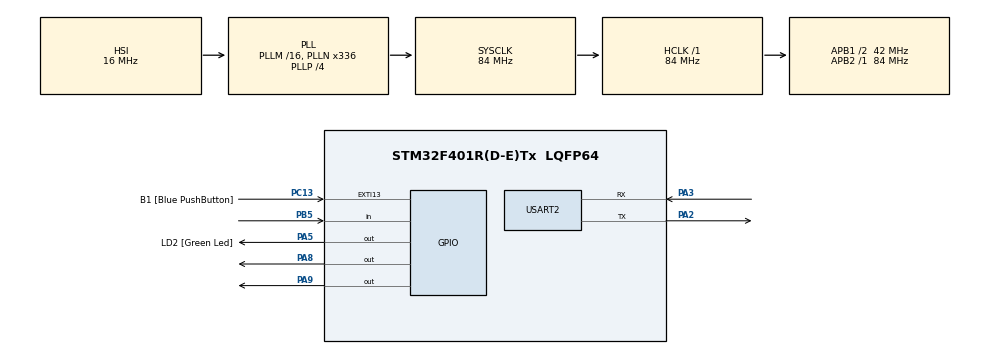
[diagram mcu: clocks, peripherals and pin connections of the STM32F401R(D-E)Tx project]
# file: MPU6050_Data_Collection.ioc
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Mcu.Family=STM32F4
Mcu.Name=STM32F401R(D-E)Tx
Mcu.Package=LQFP64
NVIC.PriorityGroup=NVIC_PRIORITYGROUP_0
PA13.GPIO_Label=TMS
PA13.Mode=Serial_Wire
PA13.Signal=SYS_JTMS-SWDIO
PA14.GPIO_Label=TCK
PA14.Mode=Serial_Wire
PA14.Signal=SYS_JTCK-SWCLK
PA2.Mode=Asynchronous
PA2.Signal=USART2_TX
PA3.Mode=Asynchronous
PA3.Signal=USART2_RX
PA5.GPIO_Label=LD2 [Green Led]
PA5.GPIO_Mode=GPIO_MODE_OUTPUT_PP
PA5.GPIO_PuPd=GPIO_NOPULL
PA5.GPIO_Speed=GPIO_SPEED_FREQ_LOW
PA5.Signal=GPIO_Output
PA8.GPIO_ModeDefaultOutputPP=GPIO_MODE_OUTPUT_OD
PA8.GPIO_PuPd=GPIO_NOPULL
PA8.PinState=GPIO_PIN_RESET
PA8.Signal=GPIO_Output
PA9.GPIO_PuPd=GPIO_NOPULL
PA9.PinState=GPIO_PIN_RESET
PA9.Signal=GPIO_Output
PB3.GPIO_Label=SWO
PB3.Signal=SYS_JTDO-SWO
PB5.GPIO_PuPd=GPIO_NOPULL
PB5.Signal=GPIO_Input
PC13-ANTI_TAMP.GPIO_Label=B1 [Blue PushButton]
PC13-ANTI_TAMP.GPIO_ModeDefaultEXTI=GPIO_MODE_IT_FALLING
PC13-ANTI_TAMP.GPIO_PuPd=GPIO_NOPULL
PC13-ANTI_TAMP.Signal=GPXTI13
PC14-OSC32_IN.Mode=LSE-External-Oscillator
PC14-OSC32_IN.Signal=RCC_OSC32_IN
PC15-OSC32_OUT.Mode=LSE-External-Oscillator
PC15-OSC32_OUT.Signal=RCC_OSC32_OUT
PH0\ -\ OSC_IN.Mode=HSE-External-Clock-Source
PH0\ -\ OSC_IN.Signal=RCC_OSC_IN
PH1\ -\ OSC_OUT.Mode=HSE-External-Clock-Source
PH1\ -\ OSC_OUT.Signal=RCC_OSC_OUT
ProjectManager.HeapSize=0x200
ProjectManager.StackSize=0x400
ProjectManager.TargetToolchain=STM32CubeIDE
RCC.48MHZClocksFreq_Value=48000000
RCC.AHBFreq_Value=84000000
RCC.APB1CLKDivider=RCC_HCLK_DIV2
RCC.APB1Freq_Value=42000000
RCC.APB1TimFreq_Value=84000000
RCC.APB2Freq_Value=84000000
RCC.APB2TimFreq_Value=84000000
RCC.CortexFreq_Value=84000000
RCC.HCLKFreq_Value=84000000
RCC.HSE_VALUE=8000000
RCC.HSI_VALUE=16000000
RCC.PLLN=336
RCC.PLLP=RCC_PLLP_DIV4
RCC.PLLQ=7
RCC.SYSCLKFreq_VALUE=84000000
RCC.SYSCLKSource=RCC_SYSCLKSOURCE_PLLCLK
RCC.VCOOutputFreq_Value=336000000
USART2.VirtualMode=VM_ASYNC
board=NUCLEO-F401RE

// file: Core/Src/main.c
/* USER CODE BEGIN Header */
/**
  ******************************************************************************
  * @file           : main.c
  * @brief          : Main program body
  ******************************************************************************
  * @attention
  *
  * Copyright (c) 2024 STMicroelectronics.
  * All rights reserved.
  *
  * This software is licensed under terms that can be found in the LICENSE file
  * in the root directory of this software component.
  * If no LICENSE file comes with this software, it is provided AS-IS.
  *
  ******************************************************************************
  */
/* USER CODE END Header */
#include "main.h"

UART_HandleTypeDef huart2;

void SystemClock_Config(void);
static void MX_GPIO_Init(void);
static void MX_USART2_UART_Init(void);

/* USER CODE BEGIN 0 */
int __io_putchar(int ch)
{
/* Support printf over UART */
(void) HAL_UART_Transmit(&huart2, (uint8_t *) &ch, 1, 0xFFFFU);
 return ch;
}

void writeMPU(GPIO_TypeDef* gpioTypeSDA, int sdaPin, GPIO_TypeDef* gpioTypeSCL,
			  int sclPin, GPIO_TypeDef* gpioTypeRead, int readPin, int deviceAddress, int writeAddress,
			  int message, int delayVal) {

	printf("writing to device\r\n");
//	HAL_Delay(1000);
//	printf("test hal delay\r\n");

	// start condition:
	HAL_GPIO_WritePin(gpioTypeSDA, sdaPin, 1);
	HAL_GPIO_WritePin(gpioTypeSCL, sclPin, 1);
	HAL_Delay(delayVal);

	HAL_GPIO_WritePin(gpioTypeSDA, sdaPin, 0);
	HAL_Delay(delayVal);
	HAL_GPIO_WritePin(gpioTypeSCL, sclPin, 0);
	HAL_Delay(delayVal);

	// send device address
	for (int i=0; i<7; i++){
		HAL_GPIO_WritePin(gpioTypeSDA, sdaPin, !!(deviceAddress & (1 << 6-i)) );
	    HAL_Delay(delayVal);

//	    if (HAL_GPIO_ReadPin(gpioTypeRead, readPin)){
//	    	printf("1\r\n");
//	    }
//	    else{
//	    	printf("0\r\n");
//	    }

	    HAL_GPIO_WritePin(gpioTypeSCL, sclPin, 1);
	    HAL_Delay(delayVal);
	    HAL_GPIO_WritePin(gpioTypeSCL, sclPin, 0);
	    HAL_Delay(delayVal);

	    HAL_GPIO_WritePin(gpioTypeSDA, sdaPin, 0);
	    HAL_Delay(delayVal);
	}

	// write is logic low
	HAL_GPIO_WritePin(gpioTypeSDA, sdaPin, 0);
	HAL_Delay(delayVal);

	HAL_GPIO_WritePin(gpioTypeSCL, sclPin, 1);
	HAL_Delay(delayVal);

//	if (HAL_GPIO_ReadPin(gpioTypeRead, readPin)){
//		    	printf("1\r\n");
//		    }
//		    else{
//		    	printf("0\r\n");
//		    }

	HAL_GPIO_WritePin(gpioTypeSCL, sclPin, 0);
	HAL_Delay(delayVal);

	HAL_GPIO_WritePin(gpioTypeSDA, sdaPin, 0);
	HAL_Delay(delayVal);

	// read acknowledge bit
	HAL_GPIO_WritePin(gpioTypeSDA, sdaPin, 1);  // set SDA line to default high state
	HAL_Delay(delayVal);

	HAL_GPIO_WritePin(gpioTypeSCL, sclPin, 1);
	HAL_Delay(delayVal);

//	if (HAL_GPIO_ReadPin(gpioTypeRead, readPin)){
//		    	printf("1\r\n");
//		    }
//		    else{
//		    	printf("0\r\n");
//		    }

	if (!HAL_GPIO_ReadPin(gpioTypeRead, readPin)){
		printf("device address received\r\n");
	}
	HAL_Delay(delayVal);

	HAL_GPIO_WritePin(gpioTypeSCL, sclPin, 0);
	HAL_Delay(delayVal);

	HAL_GPIO_WritePin(gpioTypeSDA, sdaPin, 0); // reset SDA line to low after the device lets go of the SDA line
	HAL_Delay(delayVal);

	// send internal register address
	for (int i=0; i<8; i++){
		HAL_GPIO_WritePin(gpioTypeSDA, sdaPin, !!(writeAddress & (1 << 7-i)) );
	    HAL_Delay(delayVal);

	    HAL_GPIO_WritePin(gpioTypeSCL, sclPin, 1);
	    HAL_Delay(delayVal);
	    HAL_GPIO_WritePin(gpioTypeSCL, sclPin, 0);
	    HAL_Delay(delayVal);

	    HAL_GPIO_WritePin(gpioTypeSDA, sdaPin, 0);
	    HAL_Delay(delayVal);
	}

	// read acknowledge bit
	HAL_GPIO_WritePin(gpioTypeSDA, sdaPin, 1);  // set SDA line to default high state
	HAL_Delay(delayVal);

	HAL_GPIO_WritePin(gpioTypeSCL, sclPin, 1);
	HAL_Delay(delayVal);

	if (!HAL_GPIO_ReadPin(gpioTypeRead, readPin)){
		printf("register address received\r\n");
	}
	HAL_Delay(delayVal);

	HAL_GPIO_WritePin(gpioTypeSCL, sclPin, 0);
	HAL_Delay(delayVal);

	HAL_GPIO_WritePin(gpioTypeSDA, sdaPin, 0); // reset SDA line to low after the device lets go of the SDA line
	HAL_Delay(delayVal);

	// send data to register, for power register of MPU, 0 means it keeps it always awake
	for (int i=0; i<8; i++){
		HAL_GPIO_WritePin(gpioTypeSDA, sdaPin, !!(message & (1 << 7-i)) );
	    HAL_Delay(delayVal);

	    HAL_GPIO_WritePin(gpioTypeSCL, sclPin, 1);
	    HAL_Delay(delayVal);
	    HAL_GPIO_WritePin(gpioTypeSCL, sclPin, 0);
	    HAL_Delay(delayVal);

	    HAL_GPIO_WritePin(gpioTypeSDA, sdaPin, 0);
	    HAL_Delay(delayVal);
	}

	// read acknowledge bit
	HAL_GPIO_WritePin(gpioTypeSDA, sdaPin, 1);  // set SDA line to default high state
	HAL_Delay(delayVal);

	HAL_GPIO_WritePin(gpioTypeSCL, sclPin, 1);
	HAL_Delay(delayVal);

	if (!HAL_GPIO_ReadPin(gpioTypeRead, readPin)){
		printf("message received\r\n");
	}
	HAL_Delay(delayVal);

	HAL_GPIO_WritePin(gpioTypeSCL, sclPin, 0);
	HAL_Delay(delayVal);

	HAL_GPIO_WritePin(gpioTypeSDA, sdaPin, 0); // reset SDA line to low after the device lets go of the SDA line
	HAL_Delay(delayVal);

	// stop condition
	HAL_GPIO_WritePin(gpioTypeSCL, sclPin, 1);
	HAL_Delay(delayVal);
	HAL_GPIO_WritePin(gpioTypeSDA, sdaPin, 1);
	HAL_Delay(delayVal);
}

int readMPU(GPIO_TypeDef* gpioTypeSDA, int sdaPin, GPIO_TypeDef* gpioTypeSCL, int sclPin,
			GPIO_TypeDef* gpioTypeRead, int readPin, int deviceAddress, int readAddress, int delayVal) {

	printf("reading from device\r\n");

	int storeData = 0;
	// start condition:
	HAL_GPIO_WritePin(gpioTypeSDA, sdaPin, 1);
	HAL_GPIO_WritePin(gpioTypeSCL, sclPin, 1);
	HAL_Delay(delayVal);

	HAL_GPIO_WritePin(gpioTypeSDA, sdaPin, 0);
	HAL_Delay(delayVal);
	HAL_GPIO_WritePin(gpioTypeSCL, sclPin, 0);
	HAL_Delay(delayVal);

	// send device address
	for (int i=0; i<7; i++){
		HAL_GPIO_WritePin(gpioTypeSDA, sdaPin, !!(deviceAddress & (1 << 6-i)) );
		HAL_Delay(delayVal);

		HAL_GPIO_WritePin(gpioTypeSCL, sclPin, 1);
		HAL_Delay(delayVal);
		HAL_GPIO_WritePin(gpioTypeSCL, sclPin, 0);
		HAL_Delay(delayVal);

		HAL_GPIO_WritePin(gpioTypeSDA, sdaPin, 0);
		HAL_Delay(delayVal);
	}

	// write is logic low
	HAL_GPIO_WritePin(gpioTypeSDA, sdaPin, 0);
	HAL_Delay(delayVal);

	HAL_GPIO_WritePin(gpioTypeSCL, sclPin, 1);
	HAL_Delay(delayVal);
	HAL_GPIO_WritePin(gpioTypeSCL, sclPin, 0);
	HAL_Delay(delayVal);

	HAL_GPIO_WritePin(gpioTypeSDA, sdaPin, 0);
	HAL_Delay(delayVal);

	// read acknowledge bit
	HAL_GPIO_WritePin(gpioTypeSDA, sdaPin, 1);  // set SDA line to default high state
	HAL_Delay(delayVal);

	HAL_GPIO_WritePin(gpioTypeSCL, sclPin, 1);
	HAL_Delay(delayVal);

	if (!HAL_GPIO_ReadPin(gpioTypeRead, readPin)){
		printf("device address received\r\n");
	}
	HAL_Delay(delayVal);

	HAL_GPIO_WritePin(gpioTypeSCL, sclPin, 0);
	HAL_Delay(delayVal);

	HAL_GPIO_WritePin(gpioTypeSDA, sdaPin, 0); // reset SDA line to low after the device lets go of the SDA line
	HAL_Delay(delayVal);

	// send internal register address
	for (int i=0; i<8; i++){
		HAL_GPIO_WritePin(gpioTypeSDA, sdaPin, !!(readAddress & (1 << 7-i)) );
	    HAL_Delay(delayVal);

	    HAL_GPIO_WritePin(gpioTypeSCL, sclPin, 1);
	    HAL_Delay(delayVal);
	    HAL_GPIO_WritePin(gpioTypeSCL, sclPin, 0);
	    HAL_Delay(delayVal);

	    HAL_GPIO_WritePin(gpioTypeSDA, sdaPin, 0);
	    HAL_Delay(delayVal);
	}

	// read acknowledge bit
	HAL_GPIO_WritePin(gpioTypeSDA, sdaPin, 1);  // set SDA line to default high state
	HAL_Delay(delayVal);

	HAL_GPIO_WritePin(gpioTypeSCL, sclPin, 1);
	HAL_Delay(delayVal);

	if (!HAL_GPIO_ReadPin(gpioTypeRead, readPin)){
		printf("register address received\r\n");
	}
	HAL_Delay(delayVal);

	HAL_GPIO_WritePin(gpioTypeSCL, sclPin, 0);
	HAL_Delay(delayVal);

	HAL_GPIO_WritePin(gpioTypeSDA, sdaPin, 0); // reset SDA line to low after the device lets go of the SDA line
	HAL_Delay(delayVal);

	// start condition again
	HAL_GPIO_WritePin(gpioTypeSDA, sdaPin, 1);
	HAL_GPIO_WritePin(gpioTypeSCL, sclPin, 1);
	HAL_Delay(delayVal);

	HAL_GPIO_WritePin(gpioTypeSDA, sdaPin, 0);
	HAL_Delay(delayVal);
	HAL_GPIO_WritePin(gpioTypeSCL, sclPin, 0);
	HAL_Delay(delayVal);

	// send device address
	for (int i=0; i<7; i++){
		HAL_GPIO_WritePin(gpioTypeSDA, sdaPin, !!(deviceAddress & (1 << 6-i)) );
		HAL_Delay(delayVal);

		HAL_GPIO_WritePin(gpioTypeSCL, sclPin, 1);
		HAL_Delay(delayVal);
		HAL_GPIO_WritePin(gpioTypeSCL, sclPin, 0);
		HAL_Delay(delayVal);

		HAL_GPIO_WritePin(gpioTypeSDA, sdaPin, 0);
		HAL_Delay(delayVal);
	}

	// read is logic high
	HAL_GPIO_WritePin(gpioTypeSDA, sdaPin, 1);
	HAL_Delay(delayVal);

	HAL_GPIO_WritePin(gpioTypeSCL, sclPin, 1);
	HAL_Delay(delayVal);
	HAL_GPIO_WritePin(gpioTypeSCL, sclPin, 0);
	HAL_Delay(delayVal);

	HAL_GPIO_WritePin(gpioTypeSDA, sdaPin, 0);
	HAL_Delay(delayVal);

	// read acknowledge bit
	HAL_GPIO_WritePin(gpioTypeSDA, sdaPin, 1);  // set SDA line to default high state
	HAL_Delay(delayVal);

	HAL_GPIO_WritePin(gpioTypeSCL, sclPin, 1);
	HAL_Delay(delayVal);

	if (!HAL_GPIO_ReadPin(gpioTypeRead, readPin)){
		printf("register address to READ received\r\n");
	}
	HAL_Delay(delayVal);

	HAL_GPIO_WritePin(gpioTypeSCL, sclPin, 0);
	HAL_Delay(delayVal);

	// keep SDA line default high before device pulls line and input stream of bits comes in
	HAL_GPIO_WritePin(gpioTypeSDA, sdaPin, 1);
	HAL_Delay(delayVal);

	// Receive register data
	for (int i=0; i<8; i++){
		HAL_GPIO_WritePin(gpioTypeSCL, sclPin, 1);
	    HAL_Delay(delayVal);

	    storeData |= (HAL_GPIO_ReadPin(gpioTypeRead, readPin)) * (1 << 7-i); // add bit to acclZ
	    HAL_Delay(delayVal);

	    HAL_GPIO_WritePin(gpioTypeSCL, sclPin, 0); // now after this clock pulse, the sda line should change to corresponding value
	    HAL_Delay(delayVal); // pause it a bit longer at 0 just in case
	}

	// send nack signal
	HAL_GPIO_WritePin(gpioTypeSDA, sdaPin, 1);
	HAL_Delay(delayVal);

	HAL_GPIO_WritePin(gpioTypeSCL, sclPin, 1);
	HAL_Delay(delayVal);
	HAL_GPIO_WritePin(gpioTypeSCL, sclPin, 0);
	HAL_Delay(delayVal);
	printf("sent NACK signal\r\n");

	HAL_GPIO_WritePin(gpioTypeSDA, sdaPin, 0);
	HAL_Delay(delayVal);

	//stop condition
	HAL_GPIO_WritePin(gpioTypeSCL, sclPin, 1);
	HAL_Delay(delayVal);
	HAL_GPIO_WritePin(gpioTypeSCL, sdaPin, 1);
	HAL_Delay(delayVal);

	return storeData;
}

/* USER CODE END 0 */

int main(void)
{

  /* MCU Configuration--------------------------------------------------------*/

  /* Reset of all peripherals, Initializes the Flash interface and the Systick. */
  HAL_Init();

  /* Configure the system clock */
  SystemClock_Config();

  /* Initialize all configured peripherals */
  MX_GPIO_Init();
  MX_USART2_UART_Init();
  /* USER CODE BEGIN 2 */

  int mpuDeviceAddress = 0x68; // first 7 bits of i2c data
  int acclZAxisRegisterBits15_8 = 0x3F; // 0x3f, 0x40
  int acclZAxisRegisterBits7_0 = 0x40;
  int powerRegister = 0x6B;

  int sda = GPIO_PIN_8; // D7 --> PA_8
  #define sdaType GPIOA

  int scl = GPIO_PIN_9; //D8 --> PA_9
  #define sclType GPIOA

  int read = GPIO_PIN_5; //D4 --> PB_5
  #define readType GPIOB

  int delayTime = 1; // 1 ms

  int16_t acclZ = 0;
  float acclMS2 = 0;
  // wake up MPU
  writeMPU(sdaType, sda, sclType, scl, readType, read, mpuDeviceAddress, powerRegister, 0, delayTime);

  /* USER CODE END 2 */

  /* Infinite loop */
  /* USER CODE BEGIN WHILE */
  while (1)
  {
	acclZ = 0;
	acclZ |= ((readMPU(sdaType, sda, sclType, scl, readType, read, mpuDeviceAddress, acclZAxisRegisterBits15_8, delayTime)) << 8);
	acclZ |= readMPU(sdaType, sda, sclType, scl, readType, read, mpuDeviceAddress, acclZAxisRegisterBits7_0, delayTime);
	acclMS2 = (float)(acclZ) / 16000.0 * 9.8;

	printf("\n");
	printf("%d\r\n", acclZ);

	printf("\n");
	printf("%d", (int) acclMS2);
	printf(".");
	printf("%d\r\n", ( (int)(acclMS2 * 10.0) ) % 10);

	printf("\n");
    /* USER CODE END WHILE */

    /* USER CODE BEGIN 3 */
  }

//	HAL_GPIO_WritePin(GPIOA, GPIO_PIN_9, 1);
//	HAL_Delay(4000);
//	HAL_GPIO_WritePin(GPIOA, GPIO_PIN_9, 0);
//	HAL_Delay(1000);
  /* USER CODE END 3 */
}

void SystemClock_Config(void)
{
  RCC_OscInitTypeDef RCC_OscInitStruct = {0};
  RCC_ClkInitTypeDef RCC_ClkInitStruct = {0};

  /** Configure the main internal regulator output voltage
  */
  __HAL_RCC_PWR_CLK_ENABLE();
  __HAL_PWR_VOLTAGESCALING_CONFIG(PWR_REGULATOR_VOLTAGE_SCALE2);

  /** Initializes the RCC Oscillators according to the specified parameters
  * in the RCC_OscInitTypeDef structure.
  */
  RCC_OscInitStruct.OscillatorType = RCC_OSCILLATORTYPE_HSI;
  RCC_OscInitStruct.HSIState = RCC_HSI_ON;
  RCC_OscInitStruct.HSICalibrationValue = RCC_HSICALIBRATION_DEFAULT;
  RCC_OscInitStruct.PLL.PLLState = RCC_PLL_ON;
  RCC_OscInitStruct.PLL.PLLSource = RCC_PLLSOURCE_HSI;
  RCC_OscInitStruct.PLL.PLLM = 16;
  RCC_OscInitStruct.PLL.PLLN = 336;
  RCC_OscInitStruct.PLL.PLLP = RCC_PLLP_DIV4;
  RCC_OscInitStruct.PLL.PLLQ = 7;
  if (HAL_RCC_OscConfig(&RCC_OscInitStruct) != HAL_OK)
  {
    Error_Handler();
  }

  /** Initializes the CPU, AHB and APB buses clocks
  */
  RCC_ClkInitStruct.ClockType = RCC_CLOCKTYPE_HCLK|RCC_CLOCKTYPE_SYSCLK
                              |RCC_CLOCKTYPE_PCLK1|RCC_CLOCKTYPE_PCLK2;
  RCC_ClkInitStruct.SYSCLKSource = RCC_SYSCLKSOURCE_PLLCLK;
  RCC_ClkInitStruct.AHBCLKDivider = RCC_SYSCLK_DIV1;
  RCC_ClkInitStruct.APB1CLKDivider = RCC_HCLK_DIV2;
  RCC_ClkInitStruct.APB2CLKDivider = RCC_HCLK_DIV1;

  if (HAL_RCC_ClockConfig(&RCC_ClkInitStruct, FLASH_LATENCY_2) != HAL_OK)
  {
    Error_Handler();
  }
}

static void MX_USART2_UART_Init(void)
{

  huart2.Instance = USART2;
  huart2.Init.BaudRate = 115200;
  huart2.Init.WordLength = UART_WORDLENGTH_8B;
  huart2.Init.StopBits = UART_STOPBITS_1;
  huart2.Init.Parity = UART_PARITY_NONE;
  huart2.Init.Mode = UART_MODE_TX_RX;
  huart2.Init.HwFlowCtl = UART_HWCONTROL_NONE;
  huart2.Init.OverSampling = UART_OVERSAMPLING_16;
  if (HAL_UART_Init(&huart2) != HAL_OK)
  {
    Error_Handler();
  }

}

static void MX_GPIO_Init(void)
{
  GPIO_InitTypeDef GPIO_InitStruct = {0};

  /* GPIO Ports Clock Enable */
  __HAL_RCC_GPIOC_CLK_ENABLE();
  __HAL_RCC_GPIOH_CLK_ENABLE();
  __HAL_RCC_GPIOA_CLK_ENABLE();
  __HAL_RCC_GPIOB_CLK_ENABLE();

  /*Configure GPIO pin Output Level */
  HAL_GPIO_WritePin(GPIOA, LD2_Pin|GPIO_PIN_8|GPIO_PIN_9, GPIO_PIN_RESET);

  /*Configure GPIO pin : B1_Pin */
  GPIO_InitStruct.Pin = B1_Pin;
  GPIO_InitStruct.Mode = GPIO_MODE_IT_FALLING;
  GPIO_InitStruct.Pull = GPIO_NOPULL;
  HAL_GPIO_Init(B1_GPIO_Port, &GPIO_InitStruct);

  /*Configure GPIO pins : LD2_Pin PA9 */
  GPIO_InitStruct.Pin = LD2_Pin|GPIO_PIN_9;
  GPIO_InitStruct.Mode = GPIO_MODE_OUTPUT_PP;
  GPIO_InitStruct.Pull = GPIO_NOPULL;
  GPIO_InitStruct.Speed = GPIO_SPEED_FREQ_LOW;
  HAL_GPIO_Init(GPIOA, &GPIO_InitStruct);

  /*Configure GPIO pin : PA8 */
  GPIO_InitStruct.Pin = GPIO_PIN_8;
  GPIO_InitStruct.Mode = GPIO_MODE_OUTPUT_OD;
  GPIO_InitStruct.Pull = GPIO_NOPULL;
  GPIO_InitStruct.Speed = GPIO_SPEED_FREQ_LOW;
  HAL_GPIO_Init(GPIOA, &GPIO_InitStruct);

  /*Configure GPIO pin : PB5 */
  GPIO_InitStruct.Pin = GPIO_PIN_5;
  GPIO_InitStruct.Mode = GPIO_MODE_INPUT;
  GPIO_InitStruct.Pull = GPIO_NOPULL;
  HAL_GPIO_Init(GPIOB, &GPIO_InitStruct);

}

void Error_Handler(void)
{
  __disable_irq();
  while (1)
  {
  }
}
